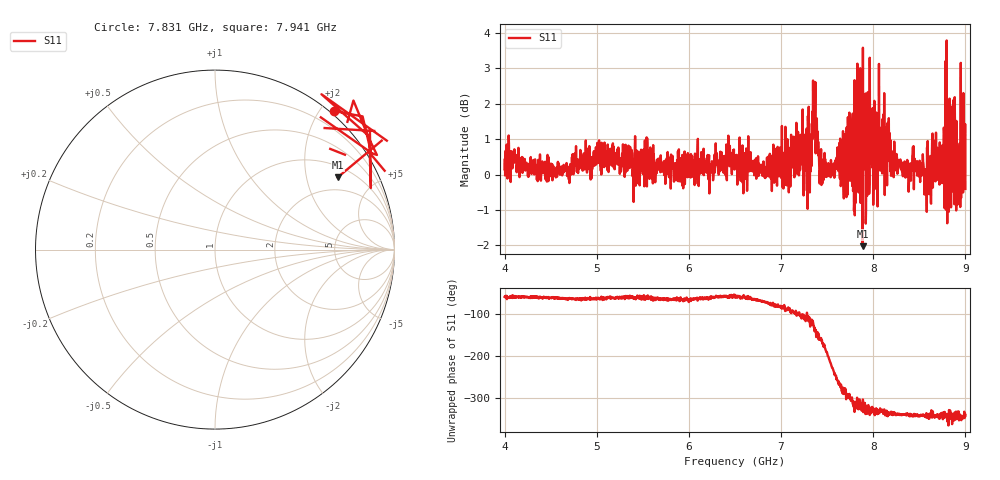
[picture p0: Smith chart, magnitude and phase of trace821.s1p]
! Created with skrf 1.8.0 (http://scikit-rf.org).
# Hz S RI R 50.0
!freq ReS11 ImS11
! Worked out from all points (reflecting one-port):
!   1601 points, 4 GHz to 9 GHz, reference 50 ohm
!   lowest |S11| = -2.0 dB at 7.884 GHz (marker M1), VSWR 8.63, Z = 71 + j153 ohm
!   phase of S11 starts at -58 deg and turns -283 deg over the sweep
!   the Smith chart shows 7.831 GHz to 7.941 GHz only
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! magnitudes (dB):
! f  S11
! 4 GHz  0.2
! 4.625 GHz  0.0
! 5.009 GHz  0.4
! 5.25 GHz  0.0
! 5.875 GHz  0.2
! 6.5 GHz  0.4
! 6.819 GHz  0.1
! 7.125 GHz  0.7
! 7.306 GHz  0.9
! 7.362 GHz  2.5
! 7.438 GHz  -0.3
! 7.75 GHz  0.8
! 7.784 GHz  -0.3
! 7.853 GHz  0.5
! 7.884 GHz  -2.0
! 7.909 GHz  1.6
! 7.962 GHz  3.3
! 8.088 GHz  0.1
! 8.375 GHz  0.1
! 8.603 GHz  0.1
! 8.656 GHz  0.6
! 8.728 GHz  0.2
! 8.809 GHz  2.0
! 8.825 GHz  1.1
! 8.897 GHz  1.1
! 8.919 GHz  -0.3
! 8.972 GHz  0.6
! 9 GHz  -0.4
